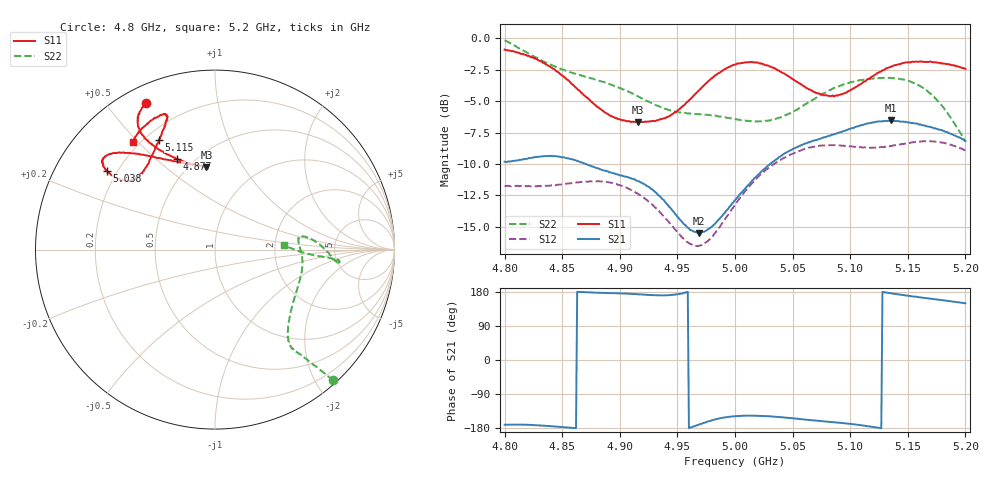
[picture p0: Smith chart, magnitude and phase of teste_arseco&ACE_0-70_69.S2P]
! Network Analyzer HP8722D
! Hewlett-Packard
! Data name: Linha & Wilkinson
! Saver's name: Rodrigo Anjos
! Comments: Teste da utilização de aquisição
! continua pelo VNA HP8722D
! Time and date: 8/5/2025 13:20
!  Frequency  S11  S21  S12  S22
# HZ  S  MA R 50
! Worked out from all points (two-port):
!   401 points, 4.8 GHz to 5.2 GHz, reference 50 ohm
!   highest |S21| = -6.54 dB at 5.135 GHz (marker M1); lowest = -15.5 dB at 4.969 GHz (marker M2)
!   |S21| within 3 dB of the highest: 4.821 GHz to 4.854 GHz (32.72 MHz wide, 0.676 % of centre); 5.037 GHz to end of sweep
!   lowest |S11| = -6.7 dB at 4.916 GHz (marker M3), VSWR 2.72, Z = 30 + j35.1 ohm
!   |S11| at or under -10 dB: nowhere
!   |S22| runs from -8.2 to -0.2 dB; largest |S21 - S12| = 0.83
!   S11 on the Smith chart (normalised r, x): 4.8 GHz: 0.07, +0.63; 4.877 GHz: 0.40, +0.59; 5.038 GHz: 0.16, +0.32; 5.115 GHz: 0.25, +0.58; 5.2 GHz: 0.17, +0.48
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4.8e9  0.9017 115.4  0.3227 -170.8  0.2583 -86.2  0.9806 -47.8
4.833e9  0.8012 122.0  0.3391 -172.8  0.2579 -77.5  0.8112 -49.9
4.848e9  0.7219 121.9  0.3373 -176.5  0.2616 -72.6  0.7581 -50.8
4.867e9  0.6059 117.5  0.3204 179.2  0.2681 -67.9  0.7107 -51.8
4.877e9  0.5503 112.9  0.3083 178.0  0.2696 -66.8  0.69 -52.1
4.901e9  0.4735 100.2  0.2842 175.8  0.2589 -67.5  0.632 -50.0
4.916e9  0.4629 95.9  0.2696 173.3  0.2401 -69.0  0.5863 -45.7
4.934e9  0.4738 99.4  0.2363 170.5  0.2054 -69.9  0.5366 -36.9
4.956e9  0.5418 114.9  0.1814 177.3  0.1583 -60.7  0.5049 -22.5
4.969e9  0.6232 123.8  0.168 -170.1  0.1493 -46.7  0.4987 -14.7
4.98e9  0.6938 129.6  0.1781 -158.9  0.1623 -34.2  0.4945 -9.1
5e9  0.786 137.1  0.2267 -148.4  0.2174 -21.6  0.4764 -0.2
5.018e9  0.8022 141.5  0.2796 -146.9  0.2744 -18.8  0.4669 5.8
5.038e9  0.7449 144.1  0.3357 -150.4  0.3254 -19.1  0.4826 8.7
5.067e9  0.6186 141.6  0.3901 -158.9  0.3696 -21.3  0.5668 4.1
5.088e9  0.592 132.4  0.4178 -164.8  0.3754 -24.5  0.6394 -2.4
5.115e9  0.6875 117.0  0.4582 -174.6  0.3667 -27.5  0.6879 -6.0
5.134e9  0.7655 110.6  0.4683 176.9  0.3715 -29.5  0.6958 -5.4
5.135e9  0.7707 110.7  0.4709 176.3  0.3731 -29.5  0.6956 -5.3
5.162e9  0.8081 112.4  0.4514 164.8  0.3889 -36.3  0.6407 -4.3
5.179e9  0.7973 118.3  0.4313 158.1  0.3848 -41.7  0.5435 -3.1
5.2e9  0.756 127.2  0.3903 149.7  0.3578 -47.4  0.3877 3.4
